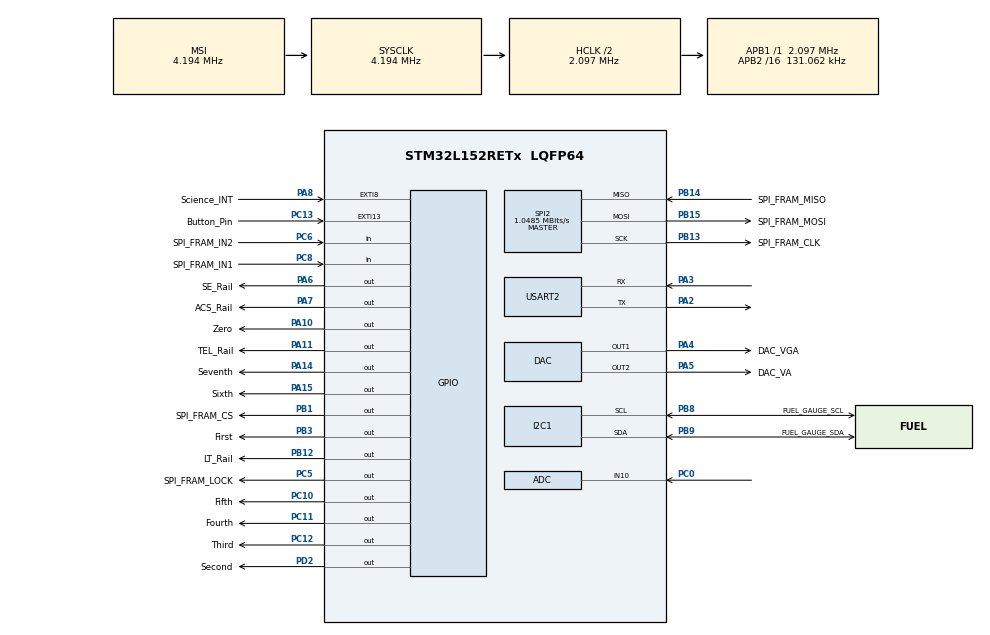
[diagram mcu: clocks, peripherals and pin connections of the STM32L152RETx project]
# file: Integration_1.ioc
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ADC.Channel-0\#ChannelRegularConversion=ADC_CHANNEL_10
ADC.NbrOfConversionFlag=1
ADC.Rank-0\#ChannelRegularConversion=1
ADC.SamplingTime-0\#ChannelRegularConversion=ADC_SAMPLETIME_4CYCLES
Mcu.Family=STM32L1
Mcu.Name=STM32L152RETx
Mcu.Package=LQFP64
NVIC.EXTI15_10_IRQn=true\:0\:0\:false\:false\:true\:true\:true
NVIC.PriorityGroup=NVIC_PRIORITYGROUP_4
PA10.GPIO_Label=Zero
PA10.Signal=GPIO_Output
PA11.GPIO_Label=TEL_Rail
PA11.Signal=GPIO_Output
PA14.GPIO_Label=Seventh
PA14.Signal=GPIO_Output
PA15.GPIO_Label=Sixth
PA15.Signal=GPIO_Output
PA2.Mode=Asynchronous
PA2.Signal=USART2_TX
PA3.Mode=Asynchronous
PA3.Signal=USART2_RX
PA4.GPIO_Label=DAC_VGA
PA4.Signal=COMP_DAC1_group
PA5.GPIO_Label=DAC_VA
PA5.Signal=COMP_DAC2_group
PA6.GPIO_Label=SE_Rail
PA6.Signal=GPIO_Output
PA7.GPIO_Label=ACS_Rail
PA7.Signal=GPIO_Output
PA8.GPIO_Label=Science_INT
PA8.Signal=GPXTI8
PB1.GPIO_Label=SPI_FRAM_CS
PB1.Signal=GPIO_Output
PB12.GPIO_Label=LT_Rail
PB12.Signal=GPIO_Output
PB13.GPIO_Label=SPI_FRAM_CLK
PB13.Mode=Full_Duplex_Master
PB13.Signal=SPI2_SCK
PB14.GPIO_Label=SPI_FRAM_MISO
PB14.Mode=Full_Duplex_Master
PB14.Signal=SPI2_MISO
PB15.GPIO_Label=SPI_FRAM_MOSI
PB15.Mode=Full_Duplex_Master
PB15.Signal=SPI2_MOSI
PB3.GPIO_Label=First
PB3.Signal=GPIO_Output
PB8.GPIO_Label=FUEL_GAUGE_SCL
PB8.Mode=I2C
PB8.Signal=I2C1_SCL
PB9.GPIO_Label=FUEL_GAUGE_SDA
PB9.Mode=I2C
PB9.Signal=I2C1_SDA
PC0.Mode=IN10
PC0.Signal=ADC_IN10
PC10.GPIO_Label=Fifth
PC10.Signal=GPIO_Output
PC11.GPIO_Label=Fourth
PC11.Signal=GPIO_Output
PC12.GPIO_Label=Third
PC12.Signal=GPIO_Output
PC13-WKUP2.GPIO_Label=Button_Pin
PC13-WKUP2.Signal=GPXTI13
PC5.GPIO_Label=SPI_FRAM_LOCK
PC5.Signal=GPIO_Output
PC6.GPIO_Label=SPI_FRAM_IN2
PC6.Signal=GPIO_Input
PC8.GPIO_Label=SPI_FRAM_IN1
PC8.Signal=GPIO_Input
PD2.GPIO_Label=Second
PD2.Signal=GPIO_Output
ProjectManager.HeapSize=0x200
ProjectManager.StackSize=0x400
ProjectManager.TargetToolchain=MDK-ARM V5.27
RCC.48MHZClocksFreq_Value=32000000
RCC.AHBCLKDivider=RCC_SYSCLK_DIV2
RCC.AHBFreq_Value=2097000
RCC.APB1Freq_Value=2097000
RCC.APB1TimFreq_Value=2097000
RCC.APB2CLKDivider=RCC_HCLK_DIV16
RCC.APB2Freq_Value=131062.5
RCC.APB2TimFreq_Value=262125
RCC.HCLKFreq_Value=2097000
RCC.HSE_VALUE=24000000
RCC.HSI_VALUE=16000000
RCC.LSE_VALUE=32768
RCC.MSIClockRange=RCC_MSIRANGE_6
RCC.MSI_VALUE=4194000
RCC.PLLMUL=RCC_PLL_MUL4
RCC.SYSCLKFreq_VALUE=4194000
RCC.VCOOutputFreq_Value=64000000
SH.COMP_DAC1_group.0=DAC_OUT1,DAC_OUT1
SH.COMP_DAC2_group.0=DAC_OUT2,DAC_OUT2
SPI2.CalculateBaudRate=1.0485 MBits/s
SPI2.Direction=SPI_DIRECTION_2LINES
SPI2.Mode=SPI_MODE_MASTER
SPI2.VirtualType=VM_MASTER
USART2.VirtualMode=VM_ASYNC
VP_IWDG_VS_IWDG.Mode=IWDG_Activate
board=custom

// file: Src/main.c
/* USER CODE BEGIN Header */
/**
  ******************************************************************************
  * @file           : main.c
  * @brief          : Main program body
  ******************************************************************************
  * @attention
  *
  * <h2><center>&copy; Copyright (c) 2020 STMicroelectronics.
  * All rights reserved.</center></h2>
  *
  * This software component is licensed by ST under BSD 3-Clause license,
  * the "License"; You may not use this file except in compliance with the
  * License. You may obtain a copy of the License at:
  *                        opensource.org/licenses/BSD-3-Clause
  *
  ******************************************************************************
  */

/*
* This is the main file that contains the first part of integration of Satellite Control
* and Attitude Gain Control
*/

/* USER CODE END Header */

#include "main.h"

/* USER CODE BEGIN Includes */
#include "SatelliteControl.h"
#include "agc.h"
/* USER CODE END Includes */

/* USER CODE BEGIN PTD */
typedef enum{
	P_Core = 0x01, S_Core = 0x02, Reboot = 0x03, Sleep = 0x04, Killed = 0x05
}FTA_States;
/* USER CODE END PTD */

/* USER CODE BEGIN PD */
#define EVENT 1
#define IDLE 0
/* USER CODE END PD */

ADC_HandleTypeDef hadc;

DAC_HandleTypeDef hdac;

I2C_HandleTypeDef hi2c1;

SPI_HandleTypeDef hspi2;

UART_HandleTypeDef huart2;

/* USER CODE BEGIN PV */
int trigger = IDLE;
uint8_t AGC_status = 0;
/* USER CODE END PV */

void SystemClock_Config(void);
static void MX_GPIO_Init(void);
static void MX_ADC_Init(void);
static void MX_DAC_Init(void);
static void MX_I2C1_Init(void);
static void MX_IWDG_Init(void);
static void MX_SPI2_Init(void);
static void MX_USART2_UART_Init(void);
/* USER CODE BEGIN PFP */
void SLEEP(void);
void SendToComp(uint8_t input);
void setPin(GPIO_TypeDef* GPIOx, uint16_t GPIO_Pin, int shift_amt, uint8_t input);
void SoftwareReset(void);
/* USER CODE END PFP */

/* USER CODE BEGIN 0 */
	FTA_States state_FTA = P_Core;
/* USER CODE END 0 */

int main(void)
{

  /* MCU Configuration--------------------------------------------------------*/

  /* Reset of all peripherals, Initializes the Flash interface and the Systick. */
  HAL_Init();

  /* Configure the system clock */
  SystemClock_Config();

  /* Initialize all configured peripherals */
  MX_GPIO_Init();
  MX_ADC_Init();
  MX_DAC_Init();
  MX_I2C1_Init();
  MX_IWDG_Init(); //4095 12 bit counter 2^12
  MX_SPI2_Init();
  MX_USART2_UART_Init();
  /* USER CODE BEGIN 2 */
	Sat_Run_Init(&hi2c1,  &hspi2, &huart2);
	AGC_Init();

	States state = Detumble;
  /* USER CODE END 2 */

  /* Infinite loop */
  /* USER CODE BEGIN WHILE */
  while (1)
  {
			LL_IWDG_ReloadCounter(IWDG); //4096
			switch(state_FTA){
			case P_Core:
				SendToComp(state_FTA);
				Sat_Run(state);
				AGC_status = AGC_DoEvent();
				if (trigger == EVENT) { state_FTA = S_Core; }
				break;
			case S_Core:
				SendToComp(state_FTA);
				Sat_Run(state);
				AGC_status = AGC_DoEvent();
				if (trigger == EVENT) { state_FTA = Reboot;}
				break;
			case Reboot:
				SoftwareReset();
				break;
			case Sleep:
			  SLEEP();
				if (trigger == EVENT) { state_FTA = P_Core;}
				break;
			case Killed:
				SendToComp(state_FTA);
				break;
			default:
				break;
		}
		trigger = IDLE;
		SendToComp(AGC_status);
  }
  /* USER CODE END 3 */
}

void SystemClock_Config(void)
{
  RCC_OscInitTypeDef RCC_OscInitStruct = {0};
  RCC_ClkInitTypeDef RCC_ClkInitStruct = {0};

  /** Configure the main internal regulator output voltage
  */
  __HAL_PWR_VOLTAGESCALING_CONFIG(PWR_REGULATOR_VOLTAGE_SCALE1);
  /** Initializes the CPU, AHB and APB busses clocks
  */
  RCC_OscInitStruct.OscillatorType = RCC_OSCILLATORTYPE_HSI|RCC_OSCILLATORTYPE_LSI
                              |RCC_OSCILLATORTYPE_MSI;
  RCC_OscInitStruct.HSIState = RCC_HSI_ON;
  RCC_OscInitStruct.HSICalibrationValue = RCC_HSICALIBRATION_DEFAULT;
  RCC_OscInitStruct.LSIState = RCC_LSI_ON;
  RCC_OscInitStruct.MSIState = RCC_MSI_ON;
  RCC_OscInitStruct.MSICalibrationValue = 0;
  RCC_OscInitStruct.MSIClockRange = RCC_MSIRANGE_6;
  RCC_OscInitStruct.PLL.PLLState = RCC_PLL_NONE;
  if (HAL_RCC_OscConfig(&RCC_OscInitStruct) != HAL_OK)
  {
    Error_Handler();
  }
  /** Initializes the CPU, AHB and APB busses clocks
  */
  RCC_ClkInitStruct.ClockType = RCC_CLOCKTYPE_HCLK|RCC_CLOCKTYPE_SYSCLK
                              |RCC_CLOCKTYPE_PCLK1|RCC_CLOCKTYPE_PCLK2;
  RCC_ClkInitStruct.SYSCLKSource = RCC_SYSCLKSOURCE_MSI;
  RCC_ClkInitStruct.AHBCLKDivider = RCC_SYSCLK_DIV2;
  RCC_ClkInitStruct.APB1CLKDivider = RCC_HCLK_DIV1;
  RCC_ClkInitStruct.APB2CLKDivider = RCC_HCLK_DIV16;

  if (HAL_RCC_ClockConfig(&RCC_ClkInitStruct, FLASH_LATENCY_0) != HAL_OK)
  {
    Error_Handler();
  }
}

static void MX_ADC_Init(void)
{

  ADC_ChannelConfTypeDef sConfig = {0};

  /** Configure the global features of the ADC (Clock, Resolution, Data Alignment and number of conversion)
  */
  hadc.Instance = ADC1;
  hadc.Init.ClockPrescaler = ADC_CLOCK_ASYNC_DIV1;
  hadc.Init.Resolution = ADC_RESOLUTION_12B;
  hadc.Init.DataAlign = ADC_DATAALIGN_RIGHT;
  hadc.Init.ScanConvMode = ADC_SCAN_DISABLE;
  hadc.Init.EOCSelection = ADC_EOC_SEQ_CONV;
  hadc.Init.LowPowerAutoWait = ADC_AUTOWAIT_DISABLE;
  hadc.Init.LowPowerAutoPowerOff = ADC_AUTOPOWEROFF_DISABLE;
  hadc.Init.ChannelsBank = ADC_CHANNELS_BANK_A;
  hadc.Init.ContinuousConvMode = DISABLE;
  hadc.Init.NbrOfConversion = 1;
  hadc.Init.DiscontinuousConvMode = DISABLE;
  hadc.Init.ExternalTrigConv = ADC_SOFTWARE_START;
  hadc.Init.ExternalTrigConvEdge = ADC_EXTERNALTRIGCONVEDGE_NONE;
  hadc.Init.DMAContinuousRequests = DISABLE;
  if (HAL_ADC_Init(&hadc) != HAL_OK)
  {
    Error_Handler();
  }
  /** Configure for the selected ADC regular channel its corresponding rank in the sequencer and its sample time.
  */
  sConfig.Channel = ADC_CHANNEL_10;
  sConfig.Rank = ADC_REGULAR_RANK_1;
  sConfig.SamplingTime = ADC_SAMPLETIME_4CYCLES;
  if (HAL_ADC_ConfigChannel(&hadc, &sConfig) != HAL_OK)
  {
    Error_Handler();
  }

}

static void MX_DAC_Init(void)
{

  DAC_ChannelConfTypeDef sConfig = {0};

  /** DAC Initialization
  */
  hdac.Instance = DAC;
  if (HAL_DAC_Init(&hdac) != HAL_OK)
  {
    Error_Handler();
  }
  /** DAC channel OUT1 config
  */
  sConfig.DAC_Trigger = DAC_TRIGGER_NONE;
  sConfig.DAC_OutputBuffer = DAC_OUTPUTBUFFER_ENABLE;
  if (HAL_DAC_ConfigChannel(&hdac, &sConfig, DAC_CHANNEL_1) != HAL_OK)
  {
    Error_Handler();
  }
  /** DAC channel OUT2 config
  */
  if (HAL_DAC_ConfigChannel(&hdac, &sConfig, DAC_CHANNEL_2) != HAL_OK)
  {
    Error_Handler();
  }

}

static void MX_I2C1_Init(void)
{

  hi2c1.Instance = I2C1;
  hi2c1.Init.ClockSpeed = 100000;
  hi2c1.Init.DutyCycle = I2C_DUTYCYCLE_2;
  hi2c1.Init.OwnAddress1 = 0;
  hi2c1.Init.AddressingMode = I2C_ADDRESSINGMODE_7BIT;
  hi2c1.Init.DualAddressMode = I2C_DUALADDRESS_DISABLE;
  hi2c1.Init.OwnAddress2 = 0;
  hi2c1.Init.GeneralCallMode = I2C_GENERALCALL_DISABLE;
  hi2c1.Init.NoStretchMode = I2C_NOSTRETCH_DISABLE;
  if (HAL_I2C_Init(&hi2c1) != HAL_OK)
  {
    Error_Handler();
  }

}

static void MX_IWDG_Init(void)
{

  /* USER CODE BEGIN IWDG_Init 1 */
  LL_RCC_LSI_Enable();
  while (LL_RCC_LSI_IsReady() != 1)
  {
  }
  /* USER CODE END IWDG_Init 1 */
  LL_IWDG_Enable(IWDG);
  LL_IWDG_EnableWriteAccess(IWDG);
  LL_IWDG_SetPrescaler(IWDG, LL_IWDG_PRESCALER_4);
  LL_IWDG_SetReloadCounter(IWDG, 4095);
  while (LL_IWDG_IsReady(IWDG) != 1)
  {
  }

  LL_IWDG_ReloadCounter(IWDG);

}

static void MX_SPI2_Init(void)
{

  /* SPI2 parameter configuration*/
  hspi2.Instance = SPI2;
  hspi2.Init.Mode = SPI_MODE_MASTER;
  hspi2.Init.Direction = SPI_DIRECTION_2LINES;
  hspi2.Init.DataSize = SPI_DATASIZE_8BIT;
  hspi2.Init.CLKPolarity = SPI_POLARITY_LOW;
  hspi2.Init.CLKPhase = SPI_PHASE_1EDGE;
  hspi2.Init.NSS = SPI_NSS_SOFT;
  hspi2.Init.BaudRatePrescaler = SPI_BAUDRATEPRESCALER_2;
  hspi2.Init.FirstBit = SPI_FIRSTBIT_MSB;
  hspi2.Init.TIMode = SPI_TIMODE_DISABLE;
  hspi2.Init.CRCCalculation = SPI_CRCCALCULATION_DISABLE;
  hspi2.Init.CRCPolynomial = 10;
  if (HAL_SPI_Init(&hspi2) != HAL_OK)
  {
    Error_Handler();
  }

}

static void MX_USART2_UART_Init(void)
{

  huart2.Instance = USART2;
  huart2.Init.BaudRate = 115200;
  huart2.Init.WordLength = UART_WORDLENGTH_8B;
  huart2.Init.StopBits = UART_STOPBITS_1;
  huart2.Init.Parity = UART_PARITY_NONE;
  huart2.Init.Mode = UART_MODE_TX_RX;
  huart2.Init.HwFlowCtl = UART_HWCONTROL_NONE;
  huart2.Init.OverSampling = UART_OVERSAMPLING_16;
  if (HAL_UART_Init(&huart2) != HAL_OK)
  {
    Error_Handler();
  }

}

static void MX_GPIO_Init(void)
{
  GPIO_InitTypeDef GPIO_InitStruct = {0};

  /* GPIO Ports Clock Enable */
  __HAL_RCC_GPIOC_CLK_ENABLE();
  __HAL_RCC_GPIOA_CLK_ENABLE();
  __HAL_RCC_GPIOB_CLK_ENABLE();
  __HAL_RCC_GPIOD_CLK_ENABLE();

  /*Configure GPIO pin Output Level */
  HAL_GPIO_WritePin(GPIOA, SE_Rail_Pin|ACS_Rail_Pin|Zero_Pin|TEL_Rail_Pin
                          |Seventh_Pin|Sixth_Pin, GPIO_PIN_RESET);

  /*Configure GPIO pin Output Level */
  HAL_GPIO_WritePin(GPIOC, SPI_FRAM_LOCK_Pin|Fifth_Pin|Fourth_Pin|Third_Pin, GPIO_PIN_RESET);

  /*Configure GPIO pin Output Level */
  HAL_GPIO_WritePin(GPIOB, SPI_FRAM_CS_Pin|LT_Rail_Pin|First_Pin, GPIO_PIN_RESET);

  /*Configure GPIO pin Output Level */
  HAL_GPIO_WritePin(Second_GPIO_Port, Second_Pin, GPIO_PIN_RESET);

  /*Configure GPIO pin : Button_Pin_Pin */
  GPIO_InitStruct.Pin = Button_Pin_Pin;
  GPIO_InitStruct.Mode = GPIO_MODE_IT_RISING;
  GPIO_InitStruct.Pull = GPIO_NOPULL;
  HAL_GPIO_Init(Button_Pin_GPIO_Port, &GPIO_InitStruct);

  /*Configure GPIO pins : SE_Rail_Pin ACS_Rail_Pin Zero_Pin TEL_Rail_Pin
                           Seventh_Pin Sixth_Pin */
  GPIO_InitStruct.Pin = SE_Rail_Pin|ACS_Rail_Pin|Zero_Pin|TEL_Rail_Pin
                          |Seventh_Pin|Sixth_Pin;
  GPIO_InitStruct.Mode = GPIO_MODE_OUTPUT_PP;
  GPIO_InitStruct.Pull = GPIO_NOPULL;
  GPIO_InitStruct.Speed = GPIO_SPEED_FREQ_LOW;
  HAL_GPIO_Init(GPIOA, &GPIO_InitStruct);

  /*Configure GPIO pins : SPI_FRAM_LOCK_Pin Fifth_Pin Fourth_Pin Third_Pin */
  GPIO_InitStruct.Pin = SPI_FRAM_LOCK_Pin|Fifth_Pin|Fourth_Pin|Third_Pin;
  GPIO_InitStruct.Mode = GPIO_MODE_OUTPUT_PP;
  GPIO_InitStruct.Pull = GPIO_NOPULL;
  GPIO_InitStruct.Speed = GPIO_SPEED_FREQ_LOW;
  HAL_GPIO_Init(GPIOC, &GPIO_InitStruct);

  /*Configure GPIO pins : SPI_FRAM_CS_Pin LT_Rail_Pin First_Pin */
  GPIO_InitStruct.Pin = SPI_FRAM_CS_Pin|LT_Rail_Pin|First_Pin;
  GPIO_InitStruct.Mode = GPIO_MODE_OUTPUT_PP;
  GPIO_InitStruct.Pull = GPIO_NOPULL;
  GPIO_InitStruct.Speed = GPIO_SPEED_FREQ_LOW;
  HAL_GPIO_Init(GPIOB, &GPIO_InitStruct);

  /*Configure GPIO pins : SPI_FRAM_IN2_Pin SPI_FRAM_IN1_Pin */
  GPIO_InitStruct.Pin = SPI_FRAM_IN2_Pin|SPI_FRAM_IN1_Pin;
  GPIO_InitStruct.Mode = GPIO_MODE_INPUT;
  GPIO_InitStruct.Pull = GPIO_NOPULL;
  HAL_GPIO_Init(GPIOC, &GPIO_InitStruct);

  /*Configure GPIO pin : Science_INT_Pin */
  GPIO_InitStruct.Pin = Science_INT_Pin;
  GPIO_InitStruct.Mode = GPIO_MODE_IT_RISING;
  GPIO_InitStruct.Pull = GPIO_NOPULL;
  HAL_GPIO_Init(Science_INT_GPIO_Port, &GPIO_InitStruct);

  /*Configure GPIO pin : Second_Pin */
  GPIO_InitStruct.Pin = Second_Pin;
  GPIO_InitStruct.Mode = GPIO_MODE_OUTPUT_PP;
  GPIO_InitStruct.Pull = GPIO_NOPULL;
  GPIO_InitStruct.Speed = GPIO_SPEED_FREQ_LOW;
  HAL_GPIO_Init(Second_GPIO_Port, &GPIO_InitStruct);

  /* EXTI interrupt init*/
  HAL_NVIC_SetPriority(EXTI15_10_IRQn, 0, 0);
  HAL_NVIC_EnableIRQ(EXTI15_10_IRQn);

}
/*
//Set RCC software reset
void SoftwareReset(void){
	 //Access the control reg that does software reset
	 SET_BIT(RCC->CSR, 1UL);
	//Check if the IWDG has been reset
	if (LL_RCC_IsActiveFlag_IWDGRST() != 0UL)
  {
		//Reset back to normal operation
		LL_RCC_ClearResetFlags();
		state_FTA = Sleep;
	}
}
*/

/* USER CODE BEGIN 4 */
void SoftwareReset(void){
	SET_BIT(RCC->CSR, 1UL);
	while(LL_RCC_IsActiveFlag_IWDGRST() == 1UL);
	LL_RCC_ClearResetFlags();
	state_FTA = Sleep;
}

//Interrupt Function;
void HAL_GPIO_EXTI_Callback(uint16_t GPIO_Pin){
	if(GPIO_Pin == Button_Pin_Pin) {
		HAL_GPIO_TogglePin(GPIOA, GPIO_PIN_5);
		trigger = EVENT;
	}
	else if(GPIO_Pin == Science_INT_Pin){
		/*Science Experiment INT*/
	}
}

void SendToComp (uint8_t input){
	int shifter = 7;
	setPin(Seventh_GPIO_Port, Seventh_Pin, shifter--, input);
	setPin(Sixth_GPIO_Port, Sixth_Pin, shifter--, input);
	setPin(Fifth_GPIO_Port, Fifth_Pin, shifter--, input);
	setPin(Fourth_GPIO_Port, Fourth_Pin, shifter--, input);
	setPin(Third_GPIO_Port, Third_Pin, shifter--, input);
	setPin(Second_GPIO_Port, Second_Pin, shifter--, input);
	setPin(First_GPIO_Port, First_Pin, shifter--, input);
	setPin(Zero_GPIO_Port, Zero_Pin, shifter, input);
}

void setPin(GPIO_TypeDef* GPIOx, uint16_t GPIO_Pin, int shift_amt, uint8_t input){
	if(input & (1 << shift_amt)){
		HAL_GPIO_WritePin(GPIOx, GPIO_Pin, GPIO_PIN_SET);
	}
	else{
		HAL_GPIO_WritePin(GPIOx, GPIO_Pin, GPIO_PIN_RESET);
	}
}

//Sleep function to set uC to sleep
void SLEEP(void){
		HAL_SuspendTick();

		HAL_PWR_EnterSLEEPMode(PWR_MAINREGULATOR_ON, PWR_SLEEPENTRY_WFI);

		HAL_ResumeTick();

}
/* USER CODE END 4 */

void Error_Handler(void)
{
}

/************************ (C) COPYRIGHT STMicroelectronics *****END OF FILE****/
